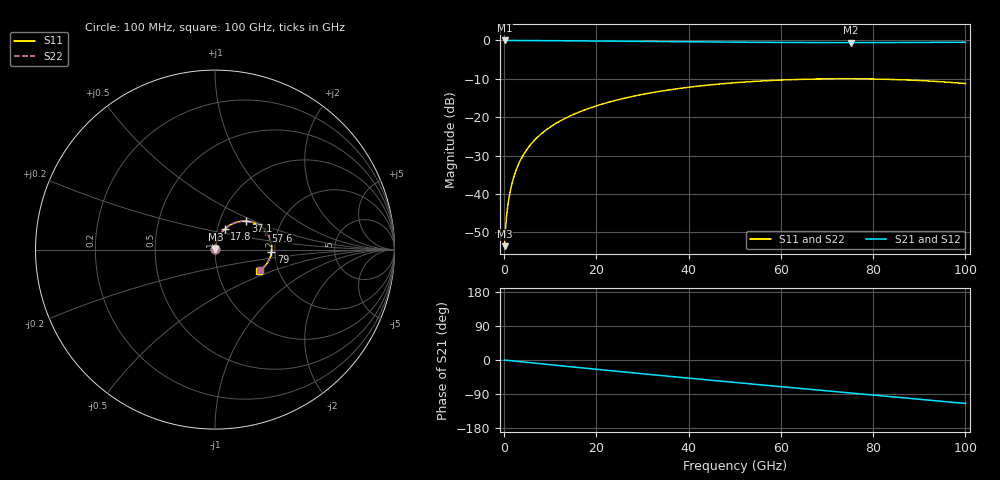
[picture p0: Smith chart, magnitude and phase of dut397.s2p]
! Touchstone file exported from HFSS 2026.1.0
!  File:  C:/ffzhzh/LocalFiles/Ansys_Project_Files/temp_train_RDL_397_1783504000_9504.aedt
!  Generated:  05:47:49 PM Jul  8, 2026
!  Design:  RDL
!  Project:  temp_train_RDL_397_1783504000_9504
! Variables:
!  h_bsmrdl = 2um
!  h_ox = 20um
!  h_rdl = 5um
!  h_sub = 80um
!  h_tmrdl = 3.07um
!  h_tsv = 80um
!  h_via = 3um
!  l_bsmrdl = 300um
!  l_sub = 785.08um
!  l_tmrdl = 385.08um
!  m_sub = 200um
!  pitch = 41.78um
!  r_tsv = 6um
!  s_tmrdl = 10um
!  w_bsmrdl = 18um
!  w_sub = 500um
!  w_tmrdl = 29.16um
!  x_tsv_center1 = 399.66um
!  x_tsv_center2 = 717.66um
!  x_tsv_center3 = 1131.9um
!  x_tsv_center4 = 1449.9um
!  x_tsv_center5 = 1864.14um
!  x_tsv_center6 = 2182.14um
# GHz S MA R 50.000000
! Terminal data exported
! Port[1] = TM_RDL1_1_T1
! Port[2] = TM_RDL1_1_T2
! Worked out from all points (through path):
!   1000 points, 100 MHz to 100 GHz, reference 50 ohm
!   highest |S21| = -0.02 dB at 100 MHz (marker M1); lowest = -0.6 dB at 75.2 GHz (marker M2)
!   group delay of S21, straight-line fit = 3.16 ps
!   lowest |S11| = -53.6 dB at 100 MHz (marker M3), VSWR 1.00, Z = 50.2 + j0.101 ohm
!   |S11| at or under -10 dB: start of sweep to 71.66 GHz; 76.03 GHz to end of sweep
!   |S22| runs from -53.6 to -10.0 dB; largest |S21 - S12| = 1.6e-14
!   S11 on the Smith chart (normalised r, x): 100 MHz: 1.00, +0.00; 17.8 GHz: 1.08, +0.25; 37.1 GHz: 1.33, +0.44; 57.6 GHz: 1.73, +0.40; 79 GHz: 1.92, -0.06; 100 GHz: 1.59, -0.41
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0.1  0.002087 29.0  0.9982 -0.1  0.9982 -0.1  0.002087 29.0
! Gamma 0 0 0 0
! Port Impedance 50 0 50 0
0.9  0.007759 69.3  0.9974 -1.2  0.9974 -1.2  0.007759 69.3
1.2  0.009937 72.8  0.9973 -1.5  0.9973 -1.5  0.009937 72.8
1.6  0.0129 75.6  0.9971 -2.0  0.9971 -2.0  0.0129 75.6
2.1  0.01666 77.4  0.997 -2.7  0.997 -2.7  0.01666 77.4
2.7  0.02119 78.4  0.9968 -3.4  0.9968 -3.4  0.02119 78.4
4.3  0.03323 78.5  0.996 -5.4  0.996 -5.4  0.03322 78.6
6.4  0.04874 77.0  0.9946 -8.0  0.9946 -8.0  0.04874 77.0
9.2  0.06884 74.1  0.9924 -11.5  0.9924 -11.5  0.06884 74.2
12.6  0.09235 70.4  0.9893 -15.6  0.9893 -15.6  0.09234 70.5
16.8  0.1202 65.7  0.9852 -20.7  0.9852 -20.7  0.1202 65.8
17.8  0.1266 64.6  0.9842 -21.9  0.9842 -21.9  0.1266 64.7
24.9  0.1698 56.6  0.9764 -30.4  0.9764 -30.4  0.1697 56.7
33.4  0.2152 47.0  0.9664 -40.3  0.9664 -40.3  0.2152 47.2
37.1  0.2327 42.9  0.9621 -44.6  0.9621 -44.6  0.2326 43.1
50.1  0.2813 28.5  0.9482 -59.4  0.9482 -59.4  0.2812 28.7
57.6  0.3 20.4  0.9421 -67.7  0.9421 -67.7  0.2999 20.6
66.7  0.3133 10.5  0.9374 -77.7  0.9374 -77.7  0.3132 10.8
75.2  0.3164 1.4  0.936 -87.1  0.936 -87.1  0.3163 1.7
79  0.3149 -2.7  0.9363 -91.3  0.9363 -91.3  0.3148 -2.4
83.4  0.3108 -7.5  0.9373 -96.1  0.9373 -96.1  0.3107 -7.1
100  0.2739 -25.6  0.9471 -114.7  0.9471 -114.7  0.2738 -25.1
